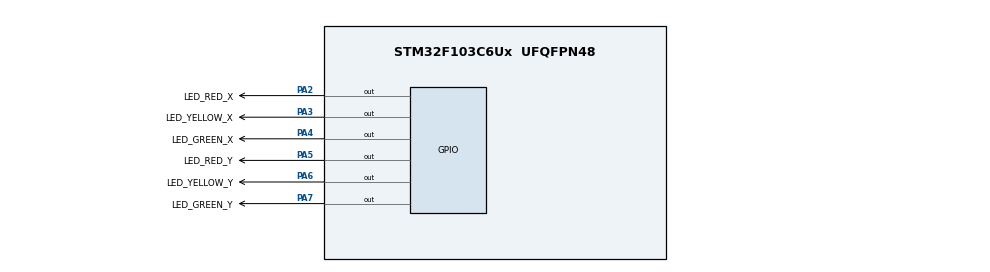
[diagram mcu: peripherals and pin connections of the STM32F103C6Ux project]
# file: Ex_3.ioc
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Mcu.Family=STM32F1
Mcu.Name=STM32F103C6Ux
Mcu.Package=UFQFPN48
NVIC.PriorityGroup=NVIC_PRIORITYGROUP_4
PA2.GPIO_Label=LED_RED_X
PA2.Signal=GPIO_Output
PA3.GPIO_Label=LED_YELLOW_X
PA3.Signal=GPIO_Output
PA4.GPIO_Label=LED_GREEN_X
PA4.Signal=GPIO_Output
PA5.GPIO_Label=LED_RED_Y
PA5.Signal=GPIO_Output
PA6.GPIO_Label=LED_YELLOW_Y
PA6.Signal=GPIO_Output
PA7.GPIO_Label=LED_GREEN_Y
PA7.Signal=GPIO_Output
ProjectManager.HeapSize=0x200
ProjectManager.StackSize=0x400
ProjectManager.TargetToolchain=STM32CubeIDE
RCC.APB1Freq_Value=8000000
RCC.APB2Freq_Value=8000000
VP_SYS_VS_ND.Mode=No_Debug
board=custom

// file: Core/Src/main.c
/* USER CODE BEGIN Header */
/**
  ******************************************************************************
  * @file           : main.c
  * @brief          : Main program body
  ******************************************************************************
  * @attention
  *
  * <h2><center>&copy; Copyright (c) 2023 STMicroelectronics.
  * All rights reserved.</center></h2>
  *
  * This software component is licensed by ST under BSD 3-Clause license,
  * the "License"; You may not use this file except in compliance with the
  * License. You may obtain a copy of the License at:
  *                        opensource.org/licenses/BSD-3-Clause
  *
  ******************************************************************************
  */
/* USER CODE END Header */
#include "main.h"

void SystemClock_Config(void);
static void MX_GPIO_Init(void);

int main(void)
{

  /* MCU Configuration--------------------------------------------------------*/

  /* Reset of all peripherals, Initializes the Flash interface and the Systick. */
  HAL_Init();

  /* Configure the system clock */
  SystemClock_Config();

  /* Initialize all configured peripherals */
  MX_GPIO_Init();
  /* USER CODE BEGIN 2 */
  int red_time = 5;
  int yellow_time = 2;
  int green_time = red_time - yellow_time;

  int state = 0; // (x-y) 0:r-g, 1:r-y, 2:g-r, 3:y-r
  int count = green_time;

  HAL_GPIO_WritePin(LED_RED_X_GPIO_Port, LED_RED_X_Pin, GPIO_PIN_RESET);
  HAL_GPIO_WritePin(LED_YELLOW_X_GPIO_Port, LED_YELLOW_X_Pin, GPIO_PIN_SET);
  HAL_GPIO_WritePin(LED_GREEN_X_GPIO_Port, LED_GREEN_X_Pin, GPIO_PIN_SET);

  HAL_GPIO_WritePin(LED_RED_Y_GPIO_Port, LED_RED_Y_Pin, GPIO_PIN_SET);
  HAL_GPIO_WritePin(LED_YELLOW_Y_GPIO_Port, LED_YELLOW_Y_Pin, GPIO_PIN_SET);
  HAL_GPIO_WritePin(LED_GREEN_Y_GPIO_Port, LED_GREEN_Y_Pin, GPIO_PIN_RESET);
  /* USER CODE END 2 */

  /* Infinite loop */
  /* USER CODE BEGIN WHILE */
  while (1)
  {
	if(count <= 0){
	  switch (state) {
		case 0:
		  HAL_GPIO_WritePin(LED_YELLOW_Y_GPIO_Port, LED_YELLOW_Y_Pin, GPIO_PIN_RESET);
		  HAL_GPIO_WritePin(LED_GREEN_Y_GPIO_Port, LED_GREEN_Y_Pin, GPIO_PIN_SET);
		  state = 1;
		  count = yellow_time;
		  break;
		case 1:
		  HAL_GPIO_WritePin(LED_RED_X_GPIO_Port, LED_RED_X_Pin, GPIO_PIN_SET);
		  HAL_GPIO_WritePin(LED_GREEN_X_GPIO_Port, LED_GREEN_X_Pin, GPIO_PIN_RESET);
		  HAL_GPIO_WritePin(LED_RED_Y_GPIO_Port, LED_RED_Y_Pin, GPIO_PIN_RESET);
		  HAL_GPIO_WritePin(LED_YELLOW_Y_GPIO_Port, LED_YELLOW_Y_Pin, GPIO_PIN_SET);
		  state = 2;
		  count = green_time;
		  break;
		case 2:
		  HAL_GPIO_WritePin(LED_YELLOW_X_GPIO_Port, LED_YELLOW_X_Pin, GPIO_PIN_RESET);
		  HAL_GPIO_WritePin(LED_GREEN_X_GPIO_Port, LED_GREEN_X_Pin, GPIO_PIN_SET);
		  state = 3;
		  count = yellow_time;
		  break;
		case 3:
		  HAL_GPIO_WritePin(LED_RED_X_GPIO_Port, LED_RED_X_Pin, GPIO_PIN_RESET);
		  HAL_GPIO_WritePin(LED_YELLOW_X_GPIO_Port, LED_YELLOW_X_Pin, GPIO_PIN_SET);
		  HAL_GPIO_WritePin(LED_RED_Y_GPIO_Port, LED_RED_Y_Pin, GPIO_PIN_SET);
		  HAL_GPIO_WritePin(LED_GREEN_Y_GPIO_Port, LED_GREEN_Y_Pin, GPIO_PIN_RESET);
		  state = 0;
		  count = green_time;
		  break;
		default:
		  state = 0;
		  count = green_time;
		  break;
	  }
	}
	--count;
	HAL_Delay(1000);
    /* USER CODE END WHILE */

  }
}

void SystemClock_Config(void)
{
  RCC_OscInitTypeDef RCC_OscInitStruct = {0};
  RCC_ClkInitTypeDef RCC_ClkInitStruct = {0};

  /** Initializes the RCC Oscillators according to the specified parameters
  * in the RCC_OscInitTypeDef structure.
  */
  RCC_OscInitStruct.OscillatorType = RCC_OSCILLATORTYPE_HSI;
  RCC_OscInitStruct.HSIState = RCC_HSI_ON;
  RCC_OscInitStruct.HSICalibrationValue = RCC_HSICALIBRATION_DEFAULT;
  RCC_OscInitStruct.PLL.PLLState = RCC_PLL_NONE;
  if (HAL_RCC_OscConfig(&RCC_OscInitStruct) != HAL_OK)
  {
    Error_Handler();
  }
  /** Initializes the CPU, AHB and APB buses clocks
  */
  RCC_ClkInitStruct.ClockType = RCC_CLOCKTYPE_HCLK|RCC_CLOCKTYPE_SYSCLK
                              |RCC_CLOCKTYPE_PCLK1|RCC_CLOCKTYPE_PCLK2;
  RCC_ClkInitStruct.SYSCLKSource = RCC_SYSCLKSOURCE_HSI;
  RCC_ClkInitStruct.AHBCLKDivider = RCC_SYSCLK_DIV1;
  RCC_ClkInitStruct.APB1CLKDivider = RCC_HCLK_DIV1;
  RCC_ClkInitStruct.APB2CLKDivider = RCC_HCLK_DIV1;

  if (HAL_RCC_ClockConfig(&RCC_ClkInitStruct, FLASH_LATENCY_0) != HAL_OK)
  {
    Error_Handler();
  }
}

static void MX_GPIO_Init(void)
{
  GPIO_InitTypeDef GPIO_InitStruct = {0};

  /* GPIO Ports Clock Enable */
  __HAL_RCC_GPIOA_CLK_ENABLE();

  /*Configure GPIO pin Output Level */
  HAL_GPIO_WritePin(GPIOA, LED_RED_X_Pin|LED_YELLOW_X_Pin|LED_GREEN_X_Pin|LED_RED_Y_Pin
                          |LED_YELLOW_Y_Pin|LED_GREEN_Y_Pin, GPIO_PIN_RESET);

  /*Configure GPIO pins : LED_RED_X_Pin LED_YELLOW_X_Pin LED_GREEN_X_Pin LED_RED_Y_Pin
                           LED_YELLOW_Y_Pin LED_GREEN_Y_Pin */
  GPIO_InitStruct.Pin = LED_RED_X_Pin|LED_YELLOW_X_Pin|LED_GREEN_X_Pin|LED_RED_Y_Pin
                          |LED_YELLOW_Y_Pin|LED_GREEN_Y_Pin;
  GPIO_InitStruct.Mode = GPIO_MODE_OUTPUT_PP;
  GPIO_InitStruct.Pull = GPIO_NOPULL;
  GPIO_InitStruct.Speed = GPIO_SPEED_FREQ_LOW;
  HAL_GPIO_Init(GPIOA, &GPIO_InitStruct);

}

void Error_Handler(void)
{
  __disable_irq();
  while (1)
  {
  }
}

/************************ (C) COPYRIGHT STMicroelectronics *****END OF FILE****/
